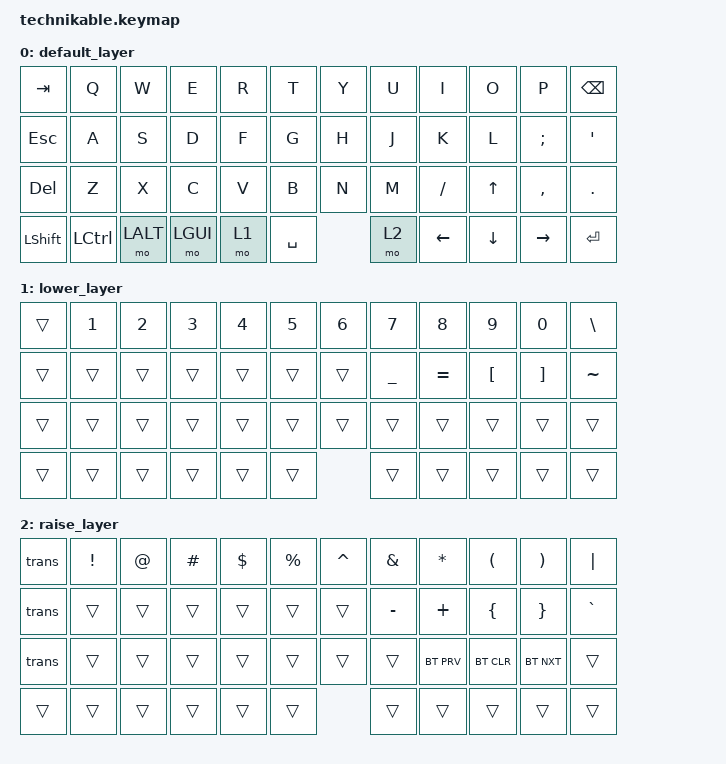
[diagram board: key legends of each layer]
/*
 * Copyright (c) 2022 Pete Johanson
 *
 * SPDX-License-Identifier: MIT
 */

#include <behaviors.dtsi>
#include <dt-bindings/zmk/keys.h>
#include <dt-bindings/zmk/bt.h>
#include <dt-bindings/zmk/outputs.h>

#define QWERTY_BASE 1

#define TBLE_ORTHO   true
#define TBLE_MIT     true

#define BAS_L 0
#define NAV_L 1
#define NUM_L 2
#define SYM_L 3

// Using layer taps on thumbs, having quick tap as well helps w/ repeating space/backspace
&lt { quick_tap_ms = <200>; };

#define BT(n) BT_SEL n

/ {
    chosen {
       zmk,matrix_transform = &mit_transform;
    };

    keymap {
        compatible = "zmk,keymap";

        default_layer {
            bindings = <
 &kp TAB    &kp Q      &kp W      &kp E       &kp R          &kp T          &kp Y            &kp U          &kp I       &kp O      &kp P         &kp BKSP
 &kp ESC    &kp A      &kp S      &kp D       &kp F          &kp G          &kp H            &kp J          &kp K       &kp L      &kp SEMI      &kp QUOT
 &kp DEL    &kp Z      &kp X      &kp C       &kp V          &kp B          &kp N            &kp M          &kp FSLH    &kp UP     &kp COMMA     &kp DOT 
 &kp LSHFT  &kp LCTRL  &mo LALT   &mo LGUI    &mo 1                &kp SPACE                 &mo 2          &kp LEFT    &kp DOWN   &kp RIGHT     &kp RET
            >;
        };

        lower_layer {
            bindings = <    
&trans      &kp N1     &kp N2     &kp N3      &kp N4         &kp N5         &kp N6           &kp N7         &kp N8      &kp N9     &kp N0        &kp BSLH
&trans      &trans     &trans     &trans      &trans         &trans         &trans           &kp UNDER      &kp EQUAL   &kp LBKT   &kp RBKT      &kp TILDE
&trans      &trans     &trans     &trans      &trans         &trans         &trans           &trans         &trans      &trans     &trans        &trans
&trans      &trans     &trans     &trans      &trans                &trans                   &trans         &trans      &trans     &trans        &trans
            >;
        };

        raise_layer {
            bindings = <
&kp trans   &kp EXCL   &kp AT     &kp HASH    &kp DLLR       &kp PRCNT      &kp CARET        &kp AMPS       &kp ASTRK   &kp LPAR   &kp RPAR      &kp PIPE
&kp trans   &trans     &trans     &trans      &trans         &trans         &trans           &kp MINUS      &kp PLUS    &kp LBRC   &kp RBRC      &kp GRAVE
&kp trans   &trans     &trans     &trans      &trans         &trans         &trans           &trans         &bt BT_PRV  &bt BT_CLR &bt BT_NXT    &trans
&trans      &trans     &trans     &trans      &trans                &trans                   &trans         &trans      &trans     &trans        &trans
            >;
        };
    };
};

